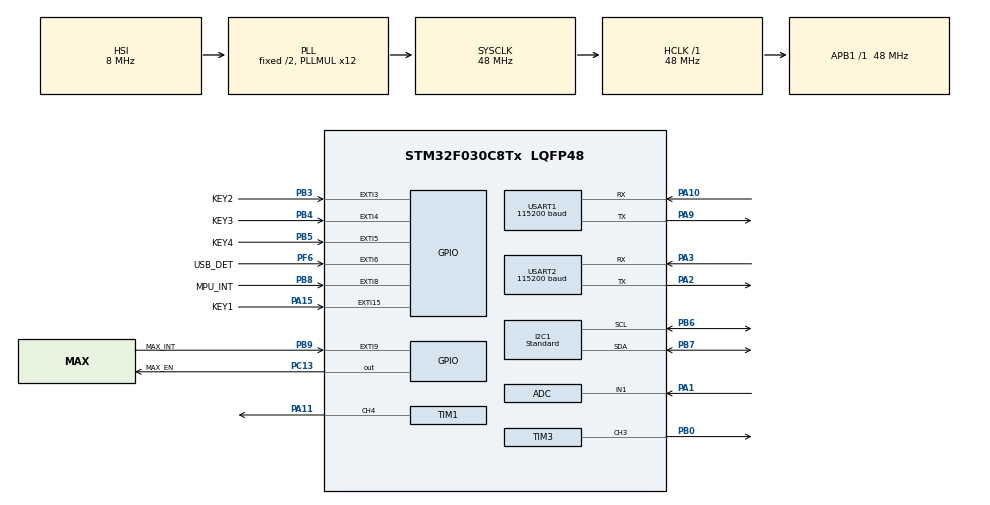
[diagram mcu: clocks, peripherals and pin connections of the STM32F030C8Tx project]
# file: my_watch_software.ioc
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ADC.ClockPrescaler=ADC_CLOCK_SYNC_PCLK_DIV4
ADC.DMAContinuousRequests=ENABLE
ADC.EOCSelection=ADC_EOC_SINGLE_CONV
ADC.ExternalTrigConv=ADC_EXTERNALTRIGCONV_T15_TRGO
ADC.LowPowerAutoWait=DISABLE
Dma.ADC.0.Direction=DMA_PERIPH_TO_MEMORY
Dma.ADC.0.Instance=DMA1_Channel1
Dma.ADC.0.MemDataAlignment=DMA_MDATAALIGN_WORD
Dma.ADC.0.MemInc=DMA_MINC_ENABLE
Dma.ADC.0.Mode=DMA_CIRCULAR
Dma.ADC.0.PeriphDataAlignment=DMA_PDATAALIGN_WORD
Dma.ADC.0.PeriphInc=DMA_PINC_DISABLE
Dma.ADC.0.Priority=DMA_PRIORITY_LOW
Dma.Request0=ADC
Dma.Request1=USART2_RX
Dma.USART2_RX.1.Direction=DMA_PERIPH_TO_MEMORY
Dma.USART2_RX.1.Instance=DMA1_Channel5
Dma.USART2_RX.1.MemDataAlignment=DMA_MDATAALIGN_BYTE
Dma.USART2_RX.1.MemInc=DMA_MINC_ENABLE
Dma.USART2_RX.1.Mode=DMA_CIRCULAR
Dma.USART2_RX.1.PeriphDataAlignment=DMA_PDATAALIGN_BYTE
Dma.USART2_RX.1.PeriphInc=DMA_PINC_DISABLE
Dma.USART2_RX.1.Priority=DMA_PRIORITY_LOW
I2C1.I2C_Speed_Mode=I2C_Standard
Mcu.Family=STM32F0
Mcu.Name=STM32F030C8Tx
Mcu.Package=LQFP48
NVIC.ADC1_IRQn=true\:0\:0\:false\:false\:true\:true\:true
NVIC.DMA1_Channel1_IRQn=true\:0\:0\:false\:false\:true\:false\:true
NVIC.DMA1_Channel4_5_IRQn=true\:0\:0\:false\:false\:true\:false\:true
NVIC.EXTI2_3_IRQn=true\:0\:0\:false\:false\:true\:true\:true
NVIC.EXTI4_15_IRQn=true\:0\:0\:false\:false\:true\:true\:true
NVIC.RTC_IRQn=true\:0\:0\:false\:false\:true\:true\:true
NVIC.TIM14_IRQn=true\:0\:0\:false\:false\:true\:true\:true
NVIC.TIM16_IRQn=true\:0\:0\:false\:false\:true\:true\:true
NVIC.TIM6_IRQn=true\:0\:0\:false\:false\:true\:true\:true
PA1.Mode=IN1
PA1.Signal=ADC_IN1
PA10.Mode=Asynchronous
PA10.Signal=USART1_RX
PA11.Signal=S_TIM1_CH4
PA13.Mode=Serial_Wire
PA13.Signal=SYS_SWDIO
PA14.Mode=Serial_Wire
PA14.Signal=SYS_SWCLK
PA15.GPIO_Label=KEY1
PA15.Signal=GPXTI15
PA2.Mode=Asynchronous
PA2.Signal=USART2_TX
PA3.Mode=Asynchronous
PA3.Signal=USART2_RX
PA9.Mode=Asynchronous
PA9.Signal=USART1_TX
PB0.Signal=S_TIM3_CH3
PB3.GPIO_Label=KEY2
PB3.Signal=GPXTI3
PB4.GPIO_Label=KEY3
PB4.Signal=GPXTI4
PB5.GPIO_Label=KEY4
PB5.Signal=GPXTI5
PB6.GPIO_Pu=GPIO_PULLUP
PB6.Mode=I2C
PB6.Signal=I2C1_SCL
PB7.GPIO_Pu=GPIO_PULLUP
PB7.Mode=I2C
PB7.Signal=I2C1_SDA
PB8.GPIO_Label=MPU_INT
PB8.Signal=GPXTI8
PB9.GPIO_Label=MAX_INT
PB9.GPIO_ModeDefaultEXTI=GPIO_MODE_IT_FALLING
PB9.Signal=GPXTI9
PC13.GPIO_Label=MAX_EN
PC13.PinState=GPIO_PIN_RESET
PC13.Signal=GPIO_Output
PC14-OSC32_IN.Mode=LSE-External-Oscillator
PC14-OSC32_IN.Signal=RCC_OSC32_IN
PC15-OSC32_OUT.Mode=LSE-External-Oscillator
PC15-OSC32_OUT.Signal=RCC_OSC32_OUT
PF6.GPIO_Label=USB_DET
PF6.Signal=GPXTI6
ProjectManager.HeapSize=0x500
ProjectManager.StackSize=0x800
ProjectManager.TargetToolchain=MDK-ARM V5.27
RCC.AHBFreq_Value=48000000
RCC.APB1Freq_Value=48000000
RCC.APB1TimFreq_Value=48000000
RCC.HCLKFreq_Value=48000000
RCC.PLLMUL=RCC_PLL_MUL12
RCC.RTCClockSelection=RCC_RTCCLKSOURCE_LSE
RCC.SYSCLKFreq_VALUE=48000000
RCC.SYSCLKSource=RCC_SYSCLKSOURCE_PLLCLK
RTC.Alarm-Alarm\ A=RTC_ALARM_A
RTC.AlarmDateWeekDay-Alarm\ A=RTC_WEEKDAY_FRIDAY
RTC.AlarmDateWeekDaySel-Alarm\ A=RTC_ALARMDATEWEEKDAYSEL_WEEKDAY
RTC.AlarmMaskDateWeekDay-Alarm\ A=RTC_ALARMMASK_DATEWEEKDAY
RTC.AlarmMaskHours-Alarm\ A=RTC_ALARMMASK_HOURS
RTC.Date=23
RTC.Format=RTC_FORMAT_BIN
RTC.Hours_A-Alarm\ A=0
RTC.Year=98
SH.S_TIM1_CH4.0=TIM1_CH4,PWM Generation4 CH4
SH.S_TIM3_CH3.0=TIM3_CH3,PWM Generation3 CH3
TIM1.Channel-PWM\ Generation4\ CH4=TIM_CHANNEL_4
TIM1.Period=1000-1
TIM1.Prescaler=48-1
TIM1.Pulse-PWM\ Generation4\ CH4=300
TIM1.TIM_MasterOutputTrigger=TIM_TRGO_RESET
TIM14.Period=250-1
TIM14.Prescaler=48000-1
TIM15.Period=10000-1
TIM15.Prescaler=48-1
TIM15.TIM_MasterOutputTrigger=TIM_TRGO_UPDATE
TIM16.Period=4000-1
TIM16.Prescaler=48000-1
TIM17.Prescaler=48000-1
TIM3.Channel-PWM\ Generation3\ CH3=TIM_CHANNEL_3
TIM3.Period=1000-1
TIM3.Prescaler=48-1
TIM3.Pulse-PWM\ Generation3\ CH3=500
TIM6.Period=1000-1
TIM6.Prescaler=48-1
USART1.BaudRate=115200
USART1.SwapParam=ADVFEATURE_SWAP_DISABLE
USART1.VirtualMode-Asynchronous=VM_ASYNC
USART2.BaudRate=115200
USART2.SwapParam=ADVFEATURE_SWAP_ENABLE
USART2.VirtualMode-Asynchronous=VM_ASYNC
VP_RTC_VS_RTC_Activate.Mode=RTC_Enabled
VP_RTC_VS_RTC_Alarm_A_Intern.Mode=Alarm A
VP_RTC_VS_RTC_Calendar.Mode=RTC_Calendar
VP_TIM14_VS_ClockSourceINT.Mode=Enable_Timer
VP_TIM15_VS_ClockSourceINT.Mode=Internal
VP_TIM16_VS_ClockSourceINT.Mode=Enable_Timer
VP_TIM17_VS_ClockSourceINT.Mode=Enable_Timer
VP_TIM1_VS_ClockSourceINT.Mode=Internal
VP_TIM3_VS_ClockSourceINT.Mode=Internal
VP_TIM6_VS_ClockSourceINT.Mode=Enable_Timer
board=custom

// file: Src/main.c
/* USER CODE BEGIN Header */
/**
  ******************************************************************************
  * @file           : main.c
  * @brief          : Main program body
  ******************************************************************************
  * @attention
  *
  * <h2><center>&copy; Copyright (c) 2020 STMicroelectronics.
  * All rights reserved.</center></h2>
  *
  * This software component is licensed by ST under BSD 3-Clause license,
  * the "License"; You may not use this file except in compliance with the
  * License. You may obtain a copy of the License at:
  *                        opensource.org/licenses/BSD-3-Clause
  *
  ******************************************************************************
  */
/* USER CODE END Header */
#include "main.h"
#include "adc.h"
#include "dma.h"
#include "i2c.h"
#include "rtc.h"
#include "tim.h"
#include "usart.h"
#include "gpio.h"

/* USER CODE BEGIN Includes */
#include "ey_iran.h"
#include "MPU6050.h"
#include "Kalman.h"
#include "max30102_for_stm32_hal.h"
#include "ssd1306.h"
#include "fonts.h"
#include "stdio.h"
#include "pages.h"
#include "xfer.h"
#include "system.h"
/* USER CODE END Includes */

/* USER CODE BEGIN PD */

#define MDELAY_TIMER_VALUE (TIM17->CNT)
#define MDELAY_TIMER		htim17		// No IT - each 0.001 seconds - used to create a timer-based delay function (MHAL_Delay)
#define SCREEN_TIMER_RESET (TIM16->CNT = 0)
#define SCREEN_TIMER		htim16		// IT mode - each 4 seconds
#define BATERY_TIMER		htim15		// IT mode - each 0.01 seconds
#define SYSTEM_TIMER		htim14		// IT mode - each 0.25 seconds
#define KALMAN_TIMER		htim6			// IT mode - each 0.001 seconds
#define BUZZER_TIMER		htim3			// PWM mode - 1KHz - Value from 0 to 999
#define VIBMOT_TIMER		htim1			// PWM mode - 1KHz - Value from 0 to 4999

/* USER CODE END PD */

/* USER CODE BEGIN PV */
System sys;

int display_fake_delay = 0;
int timeout_counter = 0;
int _index = 0;

/* Batery Level */
uint32_t adcVals[128];
uint32_t sum = 0;

uint8_t TxBuffer[12];

/* PPG Sensor */
max30102_t max30102;
uint8_t en_reg[2] = {0};

/* Movement */
MPU_ConfigTypeDef myMpuConfig;
RawData_Def myAccelRaw, myGyroRaw;
KalmanScaler KAccel;
Kalman2D1R KGyro;

/* USER CODE END PV */

void SystemClock_Config(void);
/* USER CODE BEGIN PFP */

void HAL_TIM_PeriodElapsedCallback(TIM_HandleTypeDef *htim);
void HAL_GPIO_EXTI_Callback(uint16_t GPIO_Pin);
void HAL_UART_RxCpltCallback(UART_HandleTypeDef *huart);
void HAL_RTC_AlarmAEventCallback(RTC_HandleTypeDef *hrtc);
void HAL_ADC_ConvCpltCallback(ADC_HandleTypeDef* hadc);
void max30102_plot(uint32_t ir_sample, uint32_t red_sample);
void max30102_turn_on(void);
void max30102_turn_off(void);
void set_vib(int speed, int duration);
void set_tone(int freq, int duration);
void set_tone_vib(int freq, int duration);
void beeb_beeb(System* sys, int freq, int duration);
void MHAL_Delay(uint32_t Delay);

/* USER CODE END PFP */

int main(void)
{

  /* MCU Configuration--------------------------------------------------------*/

  /* Reset of all peripherals, Initializes the Flash interface and the Systick. */
  HAL_Init();

  /* Configure the system clock */
  SystemClock_Config();

  /* Initialize all configured peripherals */
  MX_GPIO_Init();
  MX_DMA_Init();
  MX_I2C1_Init();
  MX_RTC_Init();
  MX_TIM1_Init();
  MX_TIM3_Init();
  MX_USART1_UART_Init();
  MX_ADC_Init();
  MX_USART2_UART_Init();
  MX_TIM6_Init();
  MX_TIM15_Init();
  MX_TIM14_Init();
  MX_TIM16_Init();
  MX_TIM17_Init();
  /* USER CODE BEGIN 2 */

	/* // I2C scanner
		int ret = 0;
		HAL_GPIO_WritePin(MAX_EN_GPIO_Port, MAX_EN_Pin, GPIO_PIN_SET);
		DEBUG("Starting I2C Scanning: \n\r ");
		for(int i=1; i<128; i++){
			ret = HAL_I2C_IsDeviceReady(&hi2c1, (uint16_t)(i<<1), 3, 5);
			if (ret != HAL_OK)
				DEBUG(" - ");
			else if(ret == HAL_OK)
				DEBUG("0x%X", i);
		}
		DEBUG("\n\rDone! \n\r ");
		HAL_GPIO_WritePin(MAX_EN_GPIO_Port, MAX_EN_Pin, GPIO_PIN_RESET);
	//*/

	/*/ // Date and Time setting
	DEBUG("Date and Time setting...  ");
		RTC_DateTypeDef DateToBeSet;
		DateToBeSet.Year = 22;
		DateToBeSet.Month = 8;
		DateToBeSet.Date = 4;
		DateToBeSet.WeekDay = RTC_WEEKDAY_THURSDAY;

		RTC_TimeTypeDef TimeToBeSet;
		TimeToBeSet.Hours = 17;
		TimeToBeSet.Minutes = 16;
		TimeToBeSet.Seconds = 30;

		HAL_RTC_SetDate(&hrtc, &DateToBeSet, RTC_FORMAT_BIN);
		HAL_RTC_SetTime(&hrtc, &TimeToBeSet, RTC_FORMAT_BIN);
	DEBUG("  Done! \n\r ");
	HAL_Delay(2000);
	//*/

	/*/ // Alarm setting
	DEBUG("Alarm setting...  ");
		RTC_AlarmTypeDef sAlarm = {0};
		sAlarm.AlarmTime.Hours = 17;
		sAlarm.AlarmTime.Minutes = 0;
		sAlarm.AlarmTime.Seconds = 0;
		sAlarm.AlarmTime.SubSeconds = 0;
		sAlarm.AlarmTime.DayLightSaving = RTC_DAYLIGHTSAVING_NONE;
		sAlarm.AlarmTime.StoreOperation = RTC_STOREOPERATION_RESET;
		sAlarm.AlarmMask = RTC_ALARMMASK_DATEWEEKDAY;
		sAlarm.AlarmSubSecondMask = RTC_ALARMSUBSECONDMASK_ALL;
		sAlarm.AlarmDateWeekDaySel = RTC_ALARMDATEWEEKDAYSEL_WEEKDAY;
		sAlarm.AlarmDateWeekDay = RTC_WEEKDAY_FRIDAY;
		sAlarm.Alarm = RTC_ALARM_A;
		HAL_RTC_SetAlarm_IT(&hrtc, &sAlarm, RTC_FORMAT_BIN);
	DEBUG("  Done! \n\r ");
	HAL_Delay(2000);
	//*/

	//* // Display initiation
	DEBUG("Display initiation...  ");
		ssd1306_Init(&hi2c1);
	DEBUG("  Done! \n\r ");
	HAL_Delay(2000);
	//*/

	//* // System initiation
	DEBUG("System initiation...  ");
		sys = sys_init();
		HAL_TIM_Base_Start_IT(&SYSTEM_TIMER);
	DEBUG("  Done! \n\r ");
	HAL_Delay(2000);
	//*/

	//* // MPU6050 initiation
	DEBUG("MPU6050 initiation...  ");
		MPU6050_Init(&hi2c1);
		myMpuConfig.Accel_Full_Scale = AFS_SEL_4g;
		myMpuConfig.ClockSource = Internal_8MHz;
		myMpuConfig.CONFIG_DLPF = DLPF_94A_98G_Hz;
		myMpuConfig.Gyro_Full_Scale = FS_SEL_2000;
		myMpuConfig.Sleep_Mode_Bit = 0;
		MPU6050_Config(&myMpuConfig);
	DEBUG("  Done! \n\r ");
	HAL_Delay(2000);
	//*/

	//* // Bluetooth initiation
	DEBUG("Bluetooth initiation...  ");
		HAL_UART_Receive_DMA(&BLUETOOTH_UART, sys.RxBuffer, RX_BUFFER_SIZE);

	/* // Bluetooth settings
		uint8_t psize = 0;
		char setting_buffer[25];
		psize = sprintf(setting_buffer, "AT+NAMEOpenWatch");
		HAL_UART_Transmit(&BLUETOOTH_UART, (uint8_t*)setting_buffer, psize, 1000);
		psize = sprintf(setting_buffer, "AT+PIN8569");
		HAL_UART_Transmit(&BLUETOOTH_UART, (uint8_t*)setting_buffer, psize, 1000);
		psize = sprintf(setting_buffer, "AT+BAUD8"); // 115200 bps
		HAL_UART_Transmit(&BLUETOOTH_UART, (uint8_t*)setting_buffer, psize, 1000);
		psize = sprintf(setting_buffer, "AT");
		HAL_UART_Transmit(&BLUETOOTH_UART, (uint8_t*)setting_buffer, psize, 1000);
		while(1);
	//*/

	DEBUG("  Done! \n\r ");
	HAL_Delay(2000);
	//*/

	//* // Baettery level ADC settings
	DEBUG("Baettery level ADC settings...  ");
		HAL_ADC_Start_DMA(&hadc, adcVals, 128);
		HAL_TIM_Base_Start(&BATERY_TIMER);
	DEBUG("  Done! \n\r ");
	HAL_Delay(2000);
	//*/

	//* // Kalman filter initiation
	DEBUG("Kalman filter initiation...  ");
		kalman_scaler_init(&KAccel, 0.8, 900);
		kalman_2d1r_init(&KGyro, 0.1, 1);
		HAL_TIM_Base_Start_IT(&KALMAN_TIMER);
	DEBUG("  Done! \n\r ");
	HAL_Delay(2000);
	//*/

  /* USER CODE END 2 */

  /* Infinite loop */
  /* USER CODE BEGIN WHILE */
  while (1)
	{

		// Ringing in case of activated alarms
		if(getRinging(&sys)){
			for(int thisNote=0; thisNote<sizeof(melody)/sizeof(int); thisNote++){
				beeb_beeb(&sys, melody[thisNote], 1200/noteDurations[thisNote]);
				if(!getRinging(&sys))
					break;
			}
		}

    /* USER CODE END WHILE */

  }
}

void SystemClock_Config(void)
{
  RCC_OscInitTypeDef RCC_OscInitStruct = {0};
  RCC_ClkInitTypeDef RCC_ClkInitStruct = {0};
  RCC_PeriphCLKInitTypeDef PeriphClkInit = {0};

  /** Configure LSE Drive Capability
  */
  HAL_PWR_EnableBkUpAccess();
  __HAL_RCC_LSEDRIVE_CONFIG(RCC_LSEDRIVE_HIGH);
  /** Initializes the RCC Oscillators according to the specified parameters
  * in the RCC_OscInitTypeDef structure.
  */
  RCC_OscInitStruct.OscillatorType = RCC_OSCILLATORTYPE_HSI|RCC_OSCILLATORTYPE_LSE;
  RCC_OscInitStruct.LSEState = RCC_LSE_ON;
  RCC_OscInitStruct.HSIState = RCC_HSI_ON;
  RCC_OscInitStruct.HSICalibrationValue = RCC_HSICALIBRATION_DEFAULT;
  RCC_OscInitStruct.PLL.PLLState = RCC_PLL_ON;
  RCC_OscInitStruct.PLL.PLLSource = RCC_PLLSOURCE_HSI;
  RCC_OscInitStruct.PLL.PLLMUL = RCC_PLL_MUL12;
  RCC_OscInitStruct.PLL.PREDIV = RCC_PREDIV_DIV1;
  if (HAL_RCC_OscConfig(&RCC_OscInitStruct) != HAL_OK)
  {
    Error_Handler();
  }
  /** Initializes the CPU, AHB and APB buses clocks
  */
  RCC_ClkInitStruct.ClockType = RCC_CLOCKTYPE_HCLK|RCC_CLOCKTYPE_SYSCLK
                              |RCC_CLOCKTYPE_PCLK1;
  RCC_ClkInitStruct.SYSCLKSource = RCC_SYSCLKSOURCE_PLLCLK;
  RCC_ClkInitStruct.AHBCLKDivider = RCC_SYSCLK_DIV1;
  RCC_ClkInitStruct.APB1CLKDivider = RCC_HCLK_DIV1;

  if (HAL_RCC_ClockConfig(&RCC_ClkInitStruct, FLASH_LATENCY_1) != HAL_OK)
  {
    Error_Handler();
  }
  PeriphClkInit.PeriphClockSelection = RCC_PERIPHCLK_USART1|RCC_PERIPHCLK_I2C1
                              |RCC_PERIPHCLK_RTC;
  PeriphClkInit.Usart1ClockSelection = RCC_USART1CLKSOURCE_PCLK1;
  PeriphClkInit.I2c1ClockSelection = RCC_I2C1CLKSOURCE_HSI;
  PeriphClkInit.RTCClockSelection = RCC_RTCCLKSOURCE_LSE;
  if (HAL_RCCEx_PeriphCLKConfig(&PeriphClkInit) != HAL_OK)
  {
    Error_Handler();
  }
}

/* USER CODE BEGIN 4 */

void HAL_TIM_PeriodElapsedCallback(TIM_HandleTypeDef *htim){
	if(htim == &KALMAN_TIMER){
		MPU6050_Get_RawData(&myAccelRaw, &myGyroRaw);

		/*
		TxBuffer[0] = (uint8_t)(myAccelRaw.x & 0x00FF);
		TxBuffer[1] = (uint8_t)((myAccelRaw.x & 0xFF00)>>8);

		TxBuffer[2] = (uint8_t)(myAccelRaw.y & 0x00FF);
		TxBuffer[3] = (uint8_t)((myAccelRaw.y & 0xFF00)>>8);

		TxBuffer[4] = (uint8_t)(myAccelRaw.z & 0x00FF);
		TxBuffer[5] = (uint8_t)((myAccelRaw.z & 0xFF00)>>8);

		TxBuffer[6] = (uint8_t)(myGyroRaw.x & 0x00FF);
		TxBuffer[7] = (uint8_t)((myGyroRaw.x & 0xFF00)>>8);

		TxBuffer[8] = (uint8_t)(myGyroRaw.y & 0x00FF);
		TxBuffer[9] = (uint8_t)((myGyroRaw.y & 0xFF00)>>8);

		TxBuffer[10] = (uint8_t)(myGyroRaw.z & 0x00FF);
		TxBuffer[11] = (uint8_t)((myGyroRaw.z & 0xFF00)>>8);
		//*/

		// Filtering ---------------------------------------

		/* Accelerometer */
		KAccel.z_x = myAccelRaw.x;
		#if ALLXYZ_MODE
			KAccel.z_y = myAccelRaw.y;
			KAccel.z_z = myAccelRaw.z;
		#endif
		kalman_scaler_update(&KAccel);

		/* Gyroscope */
		#if ALLXYZ_MODE
			KGyro.z_x = myGyroRaw.x;
			KGyro.z_z = myGyroRaw.z;
		#endif
		KGyro.z_y = myGyroRaw.y;
		kalman_2d1r_update(&KGyro);

		/* Pedometer */
		if((KAccel.x_hat >= 3200)&&(!getPedFlag(&sys))){
			setPedFlag(&sys,1);
			sys.pedometer += 2;
			//DEBUG("%d\n\r",sys.pedometer);
		}
		else if((KAccel.x_hat < 2500)&&(getPedFlag(&sys))){
			setPedFlag(&sys,0);
		}

		/* Enable screen */
		if((KGyro.wy_hat >= 4000)&&(!getScreenFlag(&sys))){
			setScreenFlag(&sys,1);
		}
		else if((KAccel.x_hat < 400)&&(getScreenFlag(&sys))){
			setScreenFlag(&sys,0);
			HAL_TIM_Base_Start_IT(&SCREEN_TIMER);
			setScreenEable(&sys,1);
		}

		// Filtererd data ----------------------------------
		/*
		TxBuffer[12-12] = (uint8_t)(KAccel.x_hat & 0x00FF);
		TxBuffer[13-12] = (uint8_t)((KAccel.x_hat & 0xFF00)>>8);

		TxBuffer[14-12] = (uint8_t)(KAccel.y_hat & 0x00FF);
		TxBuffer[15-12] = (uint8_t)((KAccel.y_hat & 0xFF00)>>8);

		TxBuffer[16-12] = (uint8_t)(KAccel.z_hat & 0x00FF);
		TxBuffer[17-12] = (uint8_t)((KAccel.z_hat & 0xFF00)>>8);

		TxBuffer[18-12] = (uint8_t)(KGyro.wx_hat & 0x00FF);
		TxBuffer[19-12] = (uint8_t)((KGyro.wx_hat & 0xFF00)>>8);

		TxBuffer[20-12] = (uint8_t)(KGyro.wy_hat & 0x00FF);
		TxBuffer[21-12] = (uint8_t)((KGyro.wy_hat & 0xFF00)>>8);

		TxBuffer[22-12] = (uint8_t)(KGyro.wz_hat & 0x00FF);
		TxBuffer[23-12] = (uint8_t)((KGyro.wz_hat & 0xFF00)>>8);
		//*/

		//HAL_UART_Transmit(&BLUETOOTH_UART, (uint8_t*)TxBuffer, 12, 10);
	}
	else if(htim == &SYSTEM_TIMER){
		if(getScreenEable(&sys)){
			sys.battery = map(sys.voltage, 3000, 3907, 0, 100);
			switch (sys.state)
			{
				case ack_waiting:
						HAL_TIM_Base_Stop(&SCREEN_TIMER);
						render_ack_waiting(&sys);
					break;
				case hello:
						if(display_fake_delay<16){
							render_connected(&sys);
							display_fake_delay++;
						}
						else{
							sys.state = home;
							display_fake_delay = 0;
							SCREEN_TIMER_RESET;
							HAL_TIM_Base_Start_IT(&SCREEN_TIMER);
						}
					break;
				case home:
						HAL_RTC_GetTime(&hrtc, &sys.Time, RTC_FORMAT_BIN);
						HAL_RTC_GetDate(&hrtc, &sys.Date, RTC_FORMAT_BIN);
						render_home(&sys);
					break;
				case bloody_hell:
						HAL_TIM_Base_Stop(&SCREEN_TIMER);
						render_bloody_hell(&sys);
					break;
				case pedomedo:
						HAL_TIM_Base_Stop(&SCREEN_TIMER);
						render_pedomedo(&sys);
					break;
				case about:
						HAL_TIM_Base_Stop(&SCREEN_TIMER);
						render_about(&sys);
					break;
				case ringing:
						HAL_TIM_Base_Stop(&SCREEN_TIMER);
						render_ringing(&sys);
					break;
			}
			if(sys.state != bloody_hell){
				if(timeout_counter < 4){
					timeout_counter++;
				}
				else{
					setConnected(&sys, getSHRreached(&sys));
					sys.ack = getConnected(&sys);
					setSHRreached(&sys, 0);
					timeout_counter = 0;
				}
			}
		}
		else{
			ssd1306_Fill(Black);
			ssd1306_UpdateScreen(&hi2c1);
		}
	}
	else if(htim == &SCREEN_TIMER){
		HAL_TIM_Base_Stop(&SCREEN_TIMER);
		setScreenEable(&sys, 0);
		SCREEN_TIMER_RESET;
	}
}

void HAL_GPIO_EXTI_Callback(uint16_t GPIO_Pin){
	if (GPIO_Pin == MAX_INT_Pin) {
		max30102_interrupt_handler(&max30102);
	}
	else if(GPIO_Pin == KEY4_Pin){
		DEBUG("UP PRESSED \n\r");
		if(!getScreenEable(&sys)){
			//
		}
		else{
			SCREEN_TIMER_RESET;
			switch (sys.state)
			{
				case ack_waiting:
						// accept
						sys.ack = 1;
						TxGenerator(&sys);
					break;
				case hello:
						//
					break;
				case home:
						sys.state = about;
					break;
				case bloody_hell:
						max30102_turn_off();
						HAL_TIM_Base_Start_IT(&BATERY_TIMER);
						HAL_TIM_Base_Start_IT(&KALMAN_TIMER);

						sys.state = home;
						SCREEN_TIMER_RESET;
						HAL_TIM_Base_Start_IT(&SCREEN_TIMER);
					break;
				case pedomedo:
						HAL_TIM_Base_Stop(&KALMAN_TIMER);
						HAL_TIM_Base_Stop(&BATERY_TIMER);
						max30102_turn_on();
						sys.state = bloody_hell;
					break;
				case about:
						sys.state = pedomedo;
					break;
				case ringing:
						SCREEN_TIMER_RESET;
						setRinging(&sys, 0);
						HAL_TIM_Base_Start_IT(&KALMAN_TIMER);
						HAL_TIM_Base_Start_IT(&SCREEN_TIMER);
						sys.state = home;
					break;
			}
			beeb_beeb(&sys, 500, 100);
		}
	}
	else if(GPIO_Pin == KEY3_Pin){
		DEBUG("RIGHT PRESSED \n\r");
		if(!getScreenEable(&sys)){
			//
		}
		else{
			SCREEN_TIMER_RESET;
			switch (sys.state)
			{
				case ack_waiting:
						sys.state = ringing;
					break;
				case hello:
						//
					break;
				case home:
						sys.state = ack_waiting;
					break;
				case bloody_hell:
						//
					break;
				case pedomedo:
						//
					break;
				case about:
						//
					break;
				case ringing:
						SCREEN_TIMER_RESET;
						setRinging(&sys, 0);
						HAL_TIM_Base_Start_IT(&KALMAN_TIMER);
						HAL_TIM_Base_Start_IT(&SCREEN_TIMER);
						sys.state = home;
					break;
			}
			beeb_beeb(&sys, 500, 100);
		}
	}
	else if(GPIO_Pin == KEY2_Pin){
		DEBUG("DOWN PRESSED \n\r");
		if(!getScreenEable(&sys)){
			sys.state = home;
			HAL_TIM_Base_Start_IT(&SCREEN_TIMER);
			setScreenEable(&sys,1);
		}
		else{
			SCREEN_TIMER_RESET;
			switch (sys.state)
			{
				case ack_waiting:
						// reject
						sys.ack = 0;
						TxGenerator(&sys);
						sys.state = home;
						setScreenEable(&sys,0);
					break;
				case hello:
						//
					break;
				case home:
						HAL_TIM_Base_Stop(&KALMAN_TIMER);
						HAL_TIM_Base_Stop(&BATERY_TIMER);
						max30102_turn_on();
						sys.state = bloody_hell;
					break;
				case bloody_hell:
						max30102_turn_off();
						HAL_TIM_Base_Start_IT(&BATERY_TIMER);
						HAL_TIM_Base_Start_IT(&KALMAN_TIMER);
						sys.state = pedomedo;
					break;
				case pedomedo:
						sys.state = about;
					break;
				case about:
						SCREEN_TIMER_RESET;
						HAL_TIM_Base_Start_IT(&SCREEN_TIMER);
						sys.state = home;
					break;
				case ringing:
						SCREEN_TIMER_RESET;
						setRinging(&sys, 0);
						HAL_TIM_Base_Start_IT(&KALMAN_TIMER);
						HAL_TIM_Base_Start_IT(&SCREEN_TIMER);
						sys.state = home;
					break;
			}
			beeb_beeb(&sys, 500, 100);
		}
	}
	else if(GPIO_Pin == KEY1_Pin){
		DEBUG("LEFT PRESSED \n\r");
		if(!getScreenEable(&sys)){
			//
		}
		else{
			SCREEN_TIMER_RESET;
			switch (sys.state)
			{
				case ack_waiting:
						SCREEN_TIMER_RESET;
						setRinging(&sys, 0);
						HAL_TIM_Base_Start_IT(&KALMAN_TIMER);
						HAL_TIM_Base_Start_IT(&SCREEN_TIMER);
						sys.state = home;
					break;
				case hello:
						//
					break;
				case home:
						sys.state = ringing;
					break;
				case bloody_hell:
						//
					break;
				case pedomedo:
						//
					break;
				case about:
						//
					break;
				case ringing:
						sys.state = ack_waiting;
					break;
			}
			beeb_beeb(&sys, 500, 100);
		}
	}
}

void HAL_UART_RxCpltCallback(UART_HandleTypeDef *huart){
	if(huart==&BLUETOOTH_UART){
		RxParser(&sys);
	}
}

void HAL_RTC_AlarmAEventCallback(RTC_HandleTypeDef *hrtc){
	if(sys.isAlarmEnabled){
		sys.state = ringing;
		HAL_TIM_Base_Stop(&KALMAN_TIMER);
		setRinging(&sys, 1);
		setScreenEable(&sys,1);
	}
}

void HAL_ADC_ConvCpltCallback(ADC_HandleTypeDef* hadc){
	sum = 0;
	for(uint32_t i = 0; i<128; i++)
		sum += adcVals[i];
	sys.voltage = sum >> 7;

}
void max30102_plot(uint32_t ir_sample, uint32_t red_sample){
	append_PPG_buffer(&sys, ir_sample, red_sample);
}
void max30102_turn_on(void){
	clear_PPG_buffer(&sys);

	HAL_GPIO_WritePin(MAX_EN_GPIO_Port, MAX_EN_Pin, GPIO_PIN_SET);

	// Initiation
	max30102_init(&max30102, &hi2c1);
	max30102_reset(&max30102);
	max30102_clear_fifo(&max30102);
	max30102_set_fifo_config(&max30102, max30102_smp_ave_8, 1, 7);

	// Sensor settings
	max30102_set_led_pulse_width(&max30102, max30102_pw_16_bit);
	max30102_set_adc_resolution(&max30102, max30102_adc_2048);
	max30102_set_sampling_rate(&max30102, max30102_sr_1000);
	max30102_set_led_current_1(&max30102, 6.2);
	max30102_set_led_current_2(&max30102, 6.2);

	// Enter SpO2 mode
	max30102_set_mode(&max30102, max30102_spo2);
	max30102_set_a_full(&max30102, 1);

	// Initiate 1 temperature measurement
	max30102_set_die_temp_en(&max30102, 1);
	max30102_set_die_temp_rdy(&max30102, 1);

	max30102_read(&max30102, 0x00, en_reg, 1);
}
void max30102_turn_off(void){
	HAL_GPIO_WritePin(MAX_EN_GPIO_Port, MAX_EN_Pin, GPIO_PIN_RESET);
}
void set_vib(int freq, int duration){
	HAL_TIM_PWM_Start(&VIBMOT_TIMER, TIM_CHANNEL_4);
	__HAL_TIM_SET_AUTORELOAD(&VIBMOT_TIMER, 5000);
	__HAL_TIM_SET_COMPARE(&VIBMOT_TIMER, TIM_CHANNEL_4, (int)map(freq, 260, 500, 2000, 5000));
	MHAL_Delay(duration);
	HAL_TIM_PWM_Stop(&VIBMOT_TIMER, TIM_CHANNEL_4);
	MHAL_Delay((int)(duration*0.3));
}

void set_tone(int freq, int duration){
	HAL_TIM_PWM_Start(&BUZZER_TIMER, TIM_CHANNEL_3);
	__HAL_TIM_SET_AUTORELOAD(&BUZZER_TIMER, 1000000/freq);
	__HAL_TIM_SET_COMPARE(&BUZZER_TIMER, TIM_CHANNEL_3, 1000000/freq/2);
	MHAL_Delay(duration);
	HAL_TIM_PWM_Stop(&BUZZER_TIMER, TIM_CHANNEL_3);
	MHAL_Delay((int)(duration*0.3));
}

void set_tone_vib(int freq, int duration){
	HAL_TIM_PWM_Start(&VIBMOT_TIMER, TIM_CHANNEL_4);
	__HAL_TIM_SET_AUTORELOAD(&VIBMOT_TIMER, 5000);
	__HAL_TIM_SET_COMPARE(&VIBMOT_TIMER, TIM_CHANNEL_4, (int)map(freq, 260, 500, 2000, 5000));
	HAL_TIM_PWM_Start(&BUZZER_TIMER, TIM_CHANNEL_3);
	__HAL_TIM_SET_AUTORELOAD(&BUZZER_TIMER, 1000000/freq);
	__HAL_TIM_SET_COMPARE(&BUZZER_TIMER, TIM_CHANNEL_3, 1000000/freq/2);
	MHAL_Delay(duration);
	HAL_TIM_PWM_Stop(&BUZZER_TIMER, TIM_CHANNEL_3);
	HAL_TIM_PWM_Stop(&VIBMOT_TIMER, TIM_CHANNEL_4);
	MHAL_Delay((int)(duration*0.3));
}

void beeb_beeb(System* sys, int freq, int duration){
	if(getSoundEnable(sys) && getVibEnable(sys))
		set_tone_vib(freq, duration);
	else if(getSoundEnable(sys) && (!getVibEnable(sys)))
		set_tone(freq, duration);
	else if((!getSoundEnable(sys)) && getVibEnable(sys))
		set_vib(freq, duration);
}

void MHAL_Delay(uint32_t Delay){
	HAL_TIM_Base_Start(&MDELAY_TIMER);
	while(MDELAY_TIMER_VALUE < Delay);
	HAL_TIM_Base_Stop(&MDELAY_TIMER);
	MDELAY_TIMER_VALUE = 0;
}
/* USER CODE END 4 */

void Error_Handler(void)
{
}
